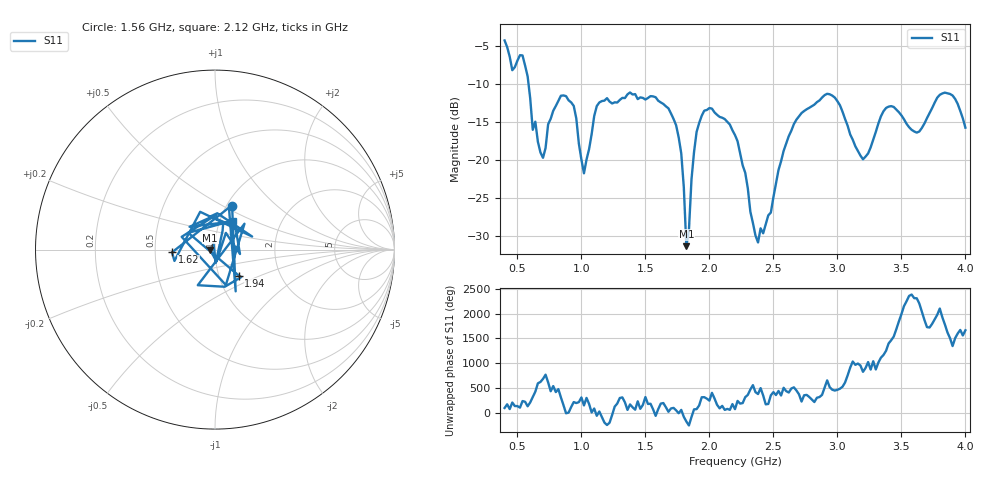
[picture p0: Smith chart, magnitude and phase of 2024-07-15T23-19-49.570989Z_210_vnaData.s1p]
!Created with skrf (http://scikit-rf.org).
# Hz S RI R 50.0
!freq ReS11 ImS11
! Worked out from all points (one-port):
!   181 points, 400 MHz to 4 GHz, reference 50 ohm
!   lowest |S11| = -31.3 dB at 1.82 GHz (marker M1), VSWR 1.06, Z = 47.3 - j0.124 ohm
!   |S11| at or under -10 dB: 587.1 MHz to end of sweep
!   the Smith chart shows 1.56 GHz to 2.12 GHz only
!   S11 on the Smith chart (normalised r, x): 1.56 GHz: 1.06, +0.56; 1.62 GHz: 0.61, -0.02; 1.94 GHz: 1.24, -0.37; 2.12 GHz: 1.16, +0.38
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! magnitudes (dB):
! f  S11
! 400 MHz  -4.3
! 460 MHz  -8.2
! 540 MHz  -6.2
! 620 MHz  -16.0
! 700 MHz  -19.7
! 860 MHz  -11.5
! 940 MHz  -12.9
! 1.02 GHz  -21.7
! 1.12 GHz  -12.9
! 1.3 GHz  -12.1
! 1.56 GHz  -11.6
! 1.62 GHz  -12.4
! 1.76 GHz  -17.0
! 1.8 GHz  -23.5
! 1.82 GHz  -31.3
! 1.88 GHz  -18.9
! 1.94 GHz  -14.2
! 2.12 GHz  -14.6
! 2.2 GHz  -16.7
! 2.38 GHz  -30.8
! 2.66 GHz  -15.2
! 2.92 GHz  -11.3
! 3.1 GHz  -16.6
! 3.2 GHz  -19.9
! 3.38 GHz  -13.1
! 3.56 GHz  -15.7
! 3.84 GHz  -11.1
! 4 GHz  -15.7
